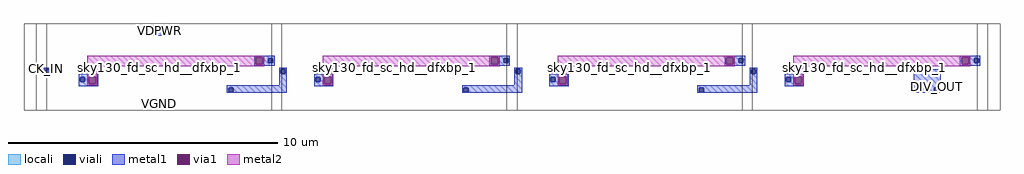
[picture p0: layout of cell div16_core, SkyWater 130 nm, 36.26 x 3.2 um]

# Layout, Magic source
magic
tech sky130A
magscale 1 2
<< locali >>
rect 289 221 323 255
rect 2037 221 2071 255
rect 3785 221 3819 255
rect 5533 221 5567 255
<< viali >>
rect 1685 304 1719 338
rect 3433 304 3467 338
rect 5181 304 5215 338
rect 6929 304 6963 338
rect 29 221 63 255
rect 1777 221 1811 255
rect 3525 221 3559 255
rect 5273 221 5307 255
rect 289 163 323 197
rect 2037 163 2071 197
rect 3785 163 3819 197
rect 5533 163 5567 197
rect 1390 85 1424 119
rect 3138 85 3172 119
rect 4886 85 4920 119
rect 6634 85 6668 119
<< metal1 >>
rect 820 504 928 584
rect 1580 343 1732 356
rect 1580 291 1592 343
rect 1644 338 1732 343
rect 1644 304 1685 338
rect 1719 304 1732 338
rect 1644 291 1732 304
rect 1580 280 1732 291
rect 3328 343 3480 356
rect 3328 291 3340 343
rect 3392 338 3480 343
rect 3392 304 3433 338
rect 3467 304 3480 338
rect 3392 291 3480 304
rect 3328 280 3480 291
rect 5076 343 5228 356
rect 5076 291 5088 343
rect 5140 338 5228 343
rect 5140 304 5181 338
rect 5215 304 5228 338
rect 5140 291 5228 304
rect 5076 280 5228 291
rect 6824 343 6976 356
rect 6824 291 6836 343
rect 6888 338 6976 343
rect 6888 304 6929 338
rect 6963 304 6976 338
rect 6888 291 6976 304
rect 6824 280 6976 291
rect 17 255 75 267
rect 17 221 29 255
rect 63 221 75 255
rect 17 209 75 221
rect 1765 255 1823 267
rect 1765 221 1777 255
rect 1811 221 1823 255
rect 277 200 420 220
rect 277 197 352 200
rect 277 163 289 197
rect 323 163 352 197
rect 277 148 352 163
rect 404 148 420 200
rect 277 128 420 148
rect 1765 137 1823 221
rect 3513 255 3571 267
rect 3513 221 3525 255
rect 3559 221 3571 255
rect 1378 119 1823 137
rect 2025 200 2168 220
rect 2025 197 2100 200
rect 2025 163 2037 197
rect 2071 163 2100 197
rect 2025 148 2100 163
rect 2152 148 2168 200
rect 2025 128 2168 148
rect 3513 137 3571 221
rect 5261 255 5319 267
rect 5261 221 5273 255
rect 5307 221 5319 255
rect 1378 85 1390 119
rect 1424 85 1823 119
rect 1378 79 1823 85
rect 3126 119 3571 137
rect 3773 200 3916 220
rect 3773 197 3848 200
rect 3773 163 3785 197
rect 3819 163 3848 197
rect 3773 148 3848 163
rect 3900 148 3916 200
rect 3773 128 3916 148
rect 5261 137 5319 221
rect 3126 85 3138 119
rect 3172 85 3571 119
rect 3126 79 3571 85
rect 4874 119 5319 137
rect 5521 200 5664 220
rect 5521 197 5596 200
rect 5521 163 5533 197
rect 5567 163 5596 197
rect 5521 148 5596 163
rect 5648 148 5664 200
rect 5521 128 5664 148
rect 4874 85 4886 119
rect 4920 85 5319 119
rect 4874 79 5319 85
rect 6480 119 6680 255
rect 6480 85 6634 119
rect 6668 85 6680 119
rect 6480 79 6680 85
rect 820 -40 928 40
<< via1 >>
rect 1592 291 1644 343
rect 3340 291 3392 343
rect 5088 291 5140 343
rect 6836 291 6888 343
rect 352 148 404 200
rect 2100 148 2152 200
rect 3848 148 3900 200
rect 5596 148 5648 200
<< metal2 >>
rect 340 343 1656 356
rect 340 291 1592 343
rect 1644 291 1656 343
rect 340 278 1656 291
rect 2088 343 3404 356
rect 2088 291 3340 343
rect 3392 291 3404 343
rect 2088 278 3404 291
rect 3836 343 5152 356
rect 3836 291 5088 343
rect 5140 291 5152 343
rect 3836 278 5152 291
rect 5584 343 6900 356
rect 5584 291 6836 343
rect 6888 291 6900 343
rect 5584 278 6900 291
rect 340 200 416 278
rect 340 148 352 200
rect 404 148 416 200
rect 340 136 416 148
rect 2088 200 2164 278
rect 2088 148 2100 200
rect 2152 148 2164 200
rect 2088 136 2164 148
rect 3836 200 3912 278
rect 3836 148 3848 200
rect 3900 148 3912 200
rect 3836 136 3912 148
rect 5584 200 5660 278
rect 5584 148 5596 200
rect 5648 148 5660 200
rect 5584 136 5660 148
use sky130_fd_sc_hd__dfxbp_1  sky130_fd_sc_hd__dfxbp_1_0 $PDKPATH/libs.ref/sky130_fd_sc_hd/mag
transform 1 0 0 0 1 0
box -38 -48 1786 592
use sky130_fd_sc_hd__dfxbp_1  sky130_fd_sc_hd__dfxbp_1_1
transform 1 0 1748 0 1 0
box -38 -48 1786 592
use sky130_fd_sc_hd__dfxbp_1  sky130_fd_sc_hd__dfxbp_1_2
transform 1 0 3496 0 1 0
box -38 -48 1786 592
use sky130_fd_sc_hd__dfxbp_1  sky130_fd_sc_hd__dfxbp_1_3
transform 1 0 5244 0 1 0
box -38 -48 1786 592
use sky130_fd_sc_hd__tapvpwrvgnd_1  sky130_fd_sc_hd__tapvpwrvgnd_1_0 $PDKPATH/libs.ref/sky130_fd_sc_hd/mag
transform 1 0 -92 0 1 0
box -38 -48 130 592
use sky130_fd_sc_hd__tapvpwrvgnd_1  sky130_fd_sc_hd__tapvpwrvgnd_1_1
transform 1 0 6992 0 1 0
box -38 -48 130 592
<< labels >>
rlabel metal1 872 542 876 546 1 VDPWR
port 1 n
rlabel metal1 872 -2 876 2 1 VGND
port 2 n
rlabel metal1 6648 126 6652 130 1 DIV_OUT
port 3 n
rlabel metal1 38 258 42 262 1 CK_IN
port 4 n
<< end >>
